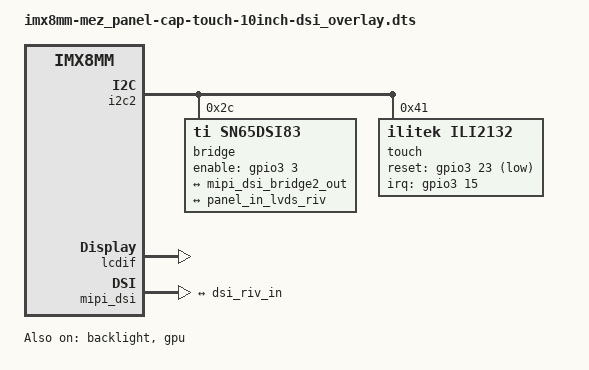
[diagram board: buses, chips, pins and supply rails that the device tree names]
// SPDX-License-Identifier: GPL-2.0-or-later OR MIT
/*
 * Copyright 2023 Silmates
 */

// Capacitive Touch Display 10.1" DSI.

/dts-v1/;
/plugin/;

/ {
	compatible = "silmates,imx8mm-mez";
};

#include <dt-bindings/interrupt-controller/arm-gic.h>
#include <dt-bindings/gpio/gpio.h>
#include "display-rvt101hvdwc00b_overlay.dtsi"

&backlight {
	pwms = <&pwm1 0 6666667 0>;
	status = "okay";
};

&gpu {
	status = "okay";
};

&i2c2 {
	#address-cells = <1>;
	#size-cells = <0>;
	status = "okay";

	bridge@2c {
		compatible = "ti,sn65dsi83";
		reg = <0x2c>;
		/* IRQ not connected */
		enable-gpios = <&gpio3 3 GPIO_ACTIVE_HIGH>;
		pinctrl-names = "default";
		pinctrl-0 = <&pinctrl_gpio_10_dsi>;

		ports {
			#address-cells = <1>;
			#size-cells = <0>;

			port@0 {
				reg = <0>;

				dsi_riv_in: endpoint {
					data-lanes = <1 2 3 4>;
					remote-endpoint = <&mipi_dsi_bridge2_out>;
				};
			};

			port@2 {
				reg = <2>;

				lvds_out_panel_riv: endpoint {
					remote-endpoint = <&panel_in_lvds_riv>;
				};
			};
		};
	};

	touch@41 {
		compatible = "ilitek,ili2132";
		reg = <0x41>;
		interrupt-parent = <&gpio3>;
		interrupts = <15 IRQ_TYPE_EDGE_RISING>;
		pinctrl-names = "default";
		pinctrl-0 = <&pinctrl_gpio_9_dsi>, <&pinctrl_i2s_2_bclk_touch_reset>;
		reset-gpios = <&gpio3 23 GPIO_ACTIVE_LOW>;
	};
};

&lcdif {
	status = "okay";
};

&mipi_dsi {
	#address-cells = <1>;
	#size-cells = <0>;
	status = "okay";

	port@1 {
		mipi_dsi_bridge2_out: endpoint {
			attach-bridge;
			remote-endpoint = <&dsi_riv_in>;
		};
	};
};
